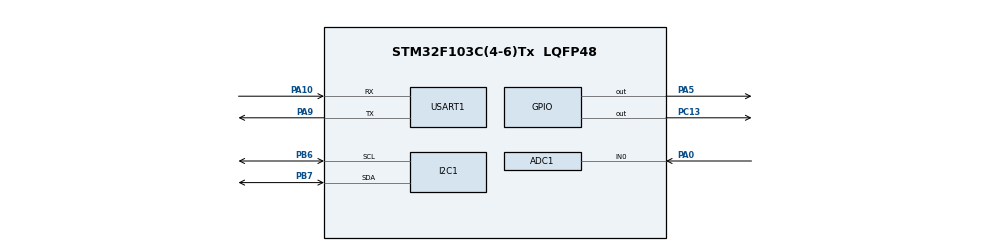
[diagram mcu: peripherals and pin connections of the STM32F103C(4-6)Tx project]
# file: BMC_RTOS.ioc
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ADC1.Channel-0\#ChannelRegularConversion=ADC_CHANNEL_0
ADC1.NbrOfConversionFlag=1
ADC1.Rank-0\#ChannelRegularConversion=1
ADC1.SamplingTime-0\#ChannelRegularConversion=ADC_SAMPLETIME_1CYCLE_5
ADC1.master=1
FREERTOS.Tasks01=defaultTask,24,128,StartDefaultTask,Default,NULL,Dynamic,NULL,NULL
Mcu.Family=STM32F1
Mcu.Name=STM32F103C(4-6)Tx
Mcu.Package=LQFP48
NVIC.PriorityGroup=NVIC_PRIORITYGROUP_4
PA0-WKUP.Signal=ADCx_IN0
PA10.Mode=Asynchronous
PA10.Signal=USART1_RX
PA13.Mode=Serial_Wire
PA13.Signal=SYS_JTMS-SWDIO
PA14.Mode=Serial_Wire
PA14.Signal=SYS_JTCK-SWCLK
PA5.Signal=GPIO_Output
PA9.Mode=Asynchronous
PA9.Signal=USART1_TX
PB6.Mode=I2C
PB6.Signal=I2C1_SCL
PB7.Mode=I2C
PB7.Signal=I2C1_SDA
PC13-TAMPER-RTC.Signal=GPIO_Output
ProjectManager.HeapSize=0x200
ProjectManager.StackSize=0x400
ProjectManager.TargetToolchain=STM32CubeIDE
RCC.APB1Freq_Value=8000000
RCC.APB2Freq_Value=8000000
SH.ADCx_IN0.0=ADC1_IN0,IN0
USART1.VirtualMode=VM_ASYNC
VP_FREERTOS_VS_CMSIS_V2.Mode=CMSIS_V2
board=custom

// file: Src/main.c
/* USER CODE BEGIN Header */
/**
  ******************************************************************************
  * @file           : main.c
  * @brief          : Main program body
  ******************************************************************************
  * @attention
  *
  * Copyright (c) 2026 STMicroelectronics.
  * All rights reserved.
  *
  * This software is licensed under terms that can be found in the LICENSE file
  * in the root directory of this software component.
  * If no LICENSE file comes with this software, it is provided AS-IS.
  *
  ******************************************************************************
  */
/* USER CODE END Header */
#include "main.h"
#include "cmsis_os.h"

/* USER CODE BEGIN Includes */
#include "battery_types.h"
#include "rtos_objects.h"
#include "tasks.h"
#include "timers.h"
#include "event_groups.h"
#include "ssd1306.h"
#include "ssd1306_fonts.h"
#include<stdio.h>

/* USER CODE END Includes */

ADC_HandleTypeDef hadc1;

I2C_HandleTypeDef hi2c1;

UART_HandleTypeDef huart1;

/* Definitions for defaultTask */
osThreadId_t defaultTaskHandle;
const osThreadAttr_t defaultTask_attributes = {
  .name = "defaultTask",
  .stack_size = 128 * 4,
  .priority = (osPriority_t) osPriorityNormal,
};

void SystemClock_Config(void);
static void MX_GPIO_Init(void);
static void MX_I2C1_Init(void);
static void MX_USART1_UART_Init(void);
static void MX_ADC1_Init(void);
void StartDefaultTask(void *argument);

int main(void)
{

  /* MCU Configuration--------------------------------------------------------*/

  /* Reset of all peripherals, Initializes the Flash interface and the Systick. */
  HAL_Init();

  /* Configure the system clock */
  SystemClock_Config();

  /* Initialize all configured peripherals */
  MX_GPIO_Init();
  MX_I2C1_Init();
  MX_USART1_UART_Init();
  MX_ADC1_Init();
  HAL_ADCEx_Calibration_Start(&hadc1);
  /* USER CODE BEGIN 2 */

  /* USER CODE BEGIN 2 */

  //ssd1306_Init();

  //ssd1306_Fill(Black);

  //ssd1306_SetCursor(0,0);

  //ssd1306_WriteString("HELLO", Font_7x10, White);

  //ssd1306_UpdateScreen();

  /* USER CODE END 2 */

  /* Init scheduler */
  osKernelInitialize();

  /* USER CODE BEGIN RTOS_MUTEX */
  measurementQueue = xQueueCreate(
      1,
      sizeof(BatteryData)
  );

  uartQueue = xQueueCreate(
      1,
      sizeof(UARTMessage)
  );

  if(measurementQueue == NULL)
  {
      Error_Handler();
  }

  if(uartQueue == NULL)
  {
      Error_Handler();
  }

 xTaskCreate(
      MeasurementTask,
      "MEAS",
      96,
      NULL,
      4,
      NULL
  );

  xTaskCreate(
      BatteryManagerTask,
      "BMS",
      192,
      NULL,
      5,
      NULL
  );

  xTaskCreate(
      UARTTask,
      "UART",
      96,
      NULL,
      2,
      NULL
  );

  /* add mutexes, ... */
  /* USER CODE END RTOS_MUTEX */

  /* Create the thread(s) */
  /* creation of defaultTask */
  defaultTaskHandle = osThreadNew(StartDefaultTask, NULL, &defaultTask_attributes);

  /* Start scheduler */
  osKernelStart();

  /* We should never get here as control is now taken by the scheduler */

  /* Infinite loop */
  /* USER CODE BEGIN WHILE */

  //while (1)
  //{

  //}

    /* USER CODE END WHILE */

}

void SystemClock_Config(void)
{
  RCC_OscInitTypeDef RCC_OscInitStruct = {0};
  RCC_ClkInitTypeDef RCC_ClkInitStruct = {0};
  RCC_PeriphCLKInitTypeDef PeriphClkInit = {0};

  /** Initializes the RCC Oscillators according to the specified parameters
  * in the RCC_OscInitTypeDef structure.
  */
  RCC_OscInitStruct.OscillatorType = RCC_OSCILLATORTYPE_HSI;
  RCC_OscInitStruct.HSIState = RCC_HSI_ON;
  RCC_OscInitStruct.HSICalibrationValue = RCC_HSICALIBRATION_DEFAULT;
  RCC_OscInitStruct.PLL.PLLState = RCC_PLL_NONE;
  if (HAL_RCC_OscConfig(&RCC_OscInitStruct) != HAL_OK)
  {
    Error_Handler();
  }

  /** Initializes the CPU, AHB and APB buses clocks
  */
  RCC_ClkInitStruct.ClockType = RCC_CLOCKTYPE_HCLK|RCC_CLOCKTYPE_SYSCLK
                              |RCC_CLOCKTYPE_PCLK1|RCC_CLOCKTYPE_PCLK2;
  RCC_ClkInitStruct.SYSCLKSource = RCC_SYSCLKSOURCE_HSI;
  RCC_ClkInitStruct.AHBCLKDivider = RCC_SYSCLK_DIV1;
  RCC_ClkInitStruct.APB1CLKDivider = RCC_HCLK_DIV1;
  RCC_ClkInitStruct.APB2CLKDivider = RCC_HCLK_DIV1;

  if (HAL_RCC_ClockConfig(&RCC_ClkInitStruct, FLASH_LATENCY_0) != HAL_OK)
  {
    Error_Handler();
  }
  PeriphClkInit.PeriphClockSelection = RCC_PERIPHCLK_ADC;
  PeriphClkInit.AdcClockSelection = RCC_ADCPCLK2_DIV2;
  if (HAL_RCCEx_PeriphCLKConfig(&PeriphClkInit) != HAL_OK)
  {
    Error_Handler();
  }
}

static void MX_ADC1_Init(void)
{

  ADC_ChannelConfTypeDef sConfig = {0};

  /** Common config
  */
  hadc1.Instance = ADC1;
  hadc1.Init.ScanConvMode = ADC_SCAN_DISABLE;
  hadc1.Init.ContinuousConvMode = DISABLE;
  hadc1.Init.DiscontinuousConvMode = DISABLE;
  hadc1.Init.ExternalTrigConv = ADC_SOFTWARE_START;
  hadc1.Init.DataAlign = ADC_DATAALIGN_RIGHT;
  hadc1.Init.NbrOfConversion = 1;
  if (HAL_ADC_Init(&hadc1) != HAL_OK)
  {
    Error_Handler();
  }

  /** Configure Regular Channel
  */
  sConfig.Channel = ADC_CHANNEL_0;
  sConfig.Rank = ADC_REGULAR_RANK_1;
  sConfig.SamplingTime = ADC_SAMPLETIME_239CYCLES_5;
  if (HAL_ADC_ConfigChannel(&hadc1, &sConfig) != HAL_OK)
  {
    Error_Handler();
  }

}

static void MX_I2C1_Init(void)
{

  hi2c1.Instance = I2C1;
  hi2c1.Init.ClockSpeed = 100000;
  hi2c1.Init.DutyCycle = I2C_DUTYCYCLE_2;
  hi2c1.Init.OwnAddress1 = 0;
  hi2c1.Init.AddressingMode = I2C_ADDRESSINGMODE_7BIT;
  hi2c1.Init.DualAddressMode = I2C_DUALADDRESS_DISABLE;
  hi2c1.Init.OwnAddress2 = 0;
  hi2c1.Init.GeneralCallMode = I2C_GENERALCALL_DISABLE;
  hi2c1.Init.NoStretchMode = I2C_NOSTRETCH_DISABLE;
  if (HAL_I2C_Init(&hi2c1) != HAL_OK)
  {
    Error_Handler();
  }

}

static void MX_USART1_UART_Init(void)
{

  huart1.Instance = USART1;
  huart1.Init.BaudRate = 115200;
  huart1.Init.WordLength = UART_WORDLENGTH_8B;
  huart1.Init.StopBits = UART_STOPBITS_1;
  huart1.Init.Parity = UART_PARITY_NONE;
  huart1.Init.Mode = UART_MODE_TX_RX;
  huart1.Init.HwFlowCtl = UART_HWCONTROL_NONE;
  huart1.Init.OverSampling = UART_OVERSAMPLING_16;
  if (HAL_UART_Init(&huart1) != HAL_OK)
  {
    Error_Handler();
  }

}

static void MX_GPIO_Init(void)
{
  GPIO_InitTypeDef GPIO_InitStruct = {0};

  /* GPIO Ports Clock Enable */
  __HAL_RCC_GPIOC_CLK_ENABLE();
  __HAL_RCC_GPIOA_CLK_ENABLE();
  __HAL_RCC_GPIOB_CLK_ENABLE();

  /*Configure GPIO pin Output Level */
  HAL_GPIO_WritePin(GPIOC, GPIO_PIN_13, GPIO_PIN_RESET);

  /*Configure GPIO pin Output Level */
  HAL_GPIO_WritePin(GPIOA, GPIO_PIN_5, GPIO_PIN_RESET);

  /*Configure GPIO pin : PC13 */
  GPIO_InitStruct.Pin = GPIO_PIN_13;
  GPIO_InitStruct.Mode = GPIO_MODE_OUTPUT_PP;
  GPIO_InitStruct.Pull = GPIO_NOPULL;
  GPIO_InitStruct.Speed = GPIO_SPEED_FREQ_LOW;
  HAL_GPIO_Init(GPIOC, &GPIO_InitStruct);

  /*Configure GPIO pin : PA5 */
  GPIO_InitStruct.Pin = GPIO_PIN_5;
  GPIO_InitStruct.Mode = GPIO_MODE_OUTPUT_PP;
  GPIO_InitStruct.Pull = GPIO_NOPULL;
  GPIO_InitStruct.Speed = GPIO_SPEED_FREQ_LOW;
  HAL_GPIO_Init(GPIOA, &GPIO_InitStruct);

}

void StartDefaultTask(void *argument)
{
  for(;;)
  {
    osDelay(1);
  }
}

void Error_Handler(void)
{
  __disable_irq();
  while (1)
  {
  }
}
